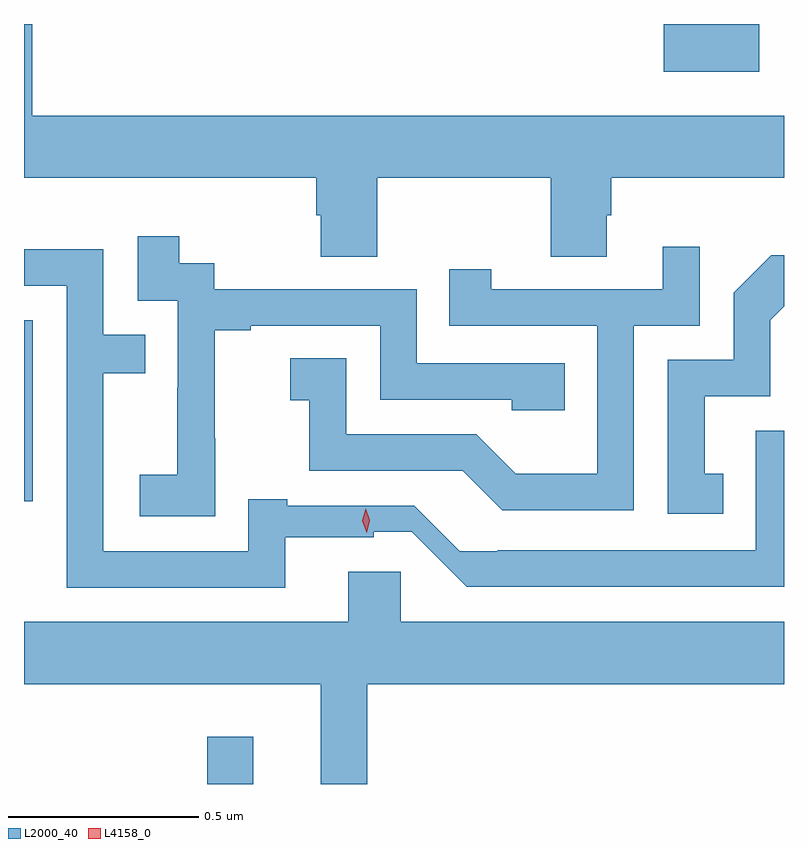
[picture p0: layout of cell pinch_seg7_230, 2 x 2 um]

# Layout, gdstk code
import gdstk
lib = gdstk.Library(unit=1e-6, precision=1e-09)
def R(c, l, rs):  # rectangles x0, y0, x1, y1
    for r in rs: c.add(gdstk.rectangle(r[:2], r[2:], *l))
def P(c, l, *ps):  # polygons
    for p in ps: c.add(gdstk.Polygon(p, *l))
L2000_40 = (2000, 40)
L4158_0 = (4158, 0)

pinch_seg7_230 = lib.new_cell('pinch_seg7_230')
R(pinch_seg7_230, L2000_40, [(712.278,1077.609,712.399,1077.733), (711.796,1078.353,711.819,1078.83), (713.48,1079.483,713.731,1079.609)])
P(pinch_seg7_230, L2000_40, [(712.725,1079.204),(713.182,1079.204),(713.182,1078.996),(713.329,1078.996),(713.329,1079.106),(713.342,1079.106),(713.342,1079.204),(713.796,1079.204),(713.796,1079.368),(711.818,1079.368),(711.818,1079.609),(711.796,1079.609),(711.796,1079.204),(712.565,1079.204),(712.565,1079.106),(712.577,1079.106),(712.577,1078.996),(712.725,1078.996)],
  [(712.299,1078.519),(712.298,1078.519),(712.298,1078.803),(712.393,1078.803),(712.393,1078.815),(712.734,1078.815),(712.734,1078.62),(713.079,1078.62),(713.079,1078.593),(713.219,1078.593),(713.219,1078.716),(712.83,1078.716),(712.83,1078.911),(712.296,1078.911),(712.296,1078.98),(712.204,1078.98),(712.204,1079.05),(712.095,1079.05),(712.095,1078.881),(712.2,1078.881),(712.2,1078.652),(712.199,1078.652),(712.199,1078.423),(712.101,1078.423),(712.101,1078.313),(712.299,1078.313)],
  [(713.4,1078.815),(713.574,1078.815),(713.574,1079.023),(713.477,1079.023),(713.477,1078.911),(713.026,1078.911),(713.026,1078.963),(712.915,1078.963),(712.915,1078.815),(713.304,1078.815),(713.304,1078.426),(713.09,1078.426),(712.986,1078.53),(712.644,1078.53),(712.644,1078.729),(712.497,1078.729),(712.497,1078.619),(712.546,1078.619),(712.546,1078.434),(712.95,1078.434),(713.055,1078.329),(713.4,1078.329)],
  [(712.483,1078.259),(712.716,1078.259),(712.716,1078.273),(712.816,1078.273),(712.961,1078.128),(713.796,1078.128),(713.796,1078.539),(713.721,1078.539),(713.721,1078.224),(713.043,1078.224),(713.043,1078.221),(712.943,1078.221),(712.823,1078.341),(712.489,1078.341),(712.489,1078.358),(712.386,1078.358),(712.386,1078.221),(712.005,1078.221),(712.005,1078.69),(712.115,1078.69),(712.115,1078.791),(712.005,1078.791),(712.005,1079.016),(711.796,1079.016),(711.796,1078.92),(711.909,1078.92),(711.909,1078.125),(712.483,1078.125)],
  [(713.636,1078.425),(713.587,1078.425),(713.587,1078.629),(713.76,1078.629),(713.76,1078.83),(713.796,1078.866),(713.796,1079),(713.762,1079),(713.664,1078.902),(713.664,1078.725),(713.49,1078.725),(713.49,1078.32),(713.636,1078.32)],
  [(712.699,1077.872),(713.796,1077.872),(713.796,1078.036),(712.788,1078.036),(712.788,1078.168),(712.649,1078.168),(712.649,1078.036),(711.796,1078.036),(711.796,1077.872),(712.577,1077.872),(712.577,1077.609),(712.699,1077.609)])
P(pinch_seg7_230, L4158_0, [(712.698,1078.27),(712.698,1078.27),(712.686,1078.302),(712.695,1078.334),(712.695,1078.334),(712.695,1078.334),(712.706,1078.303),(712.698,1078.27)])

lib.write_gds('pinch_seg7_230.gds')
